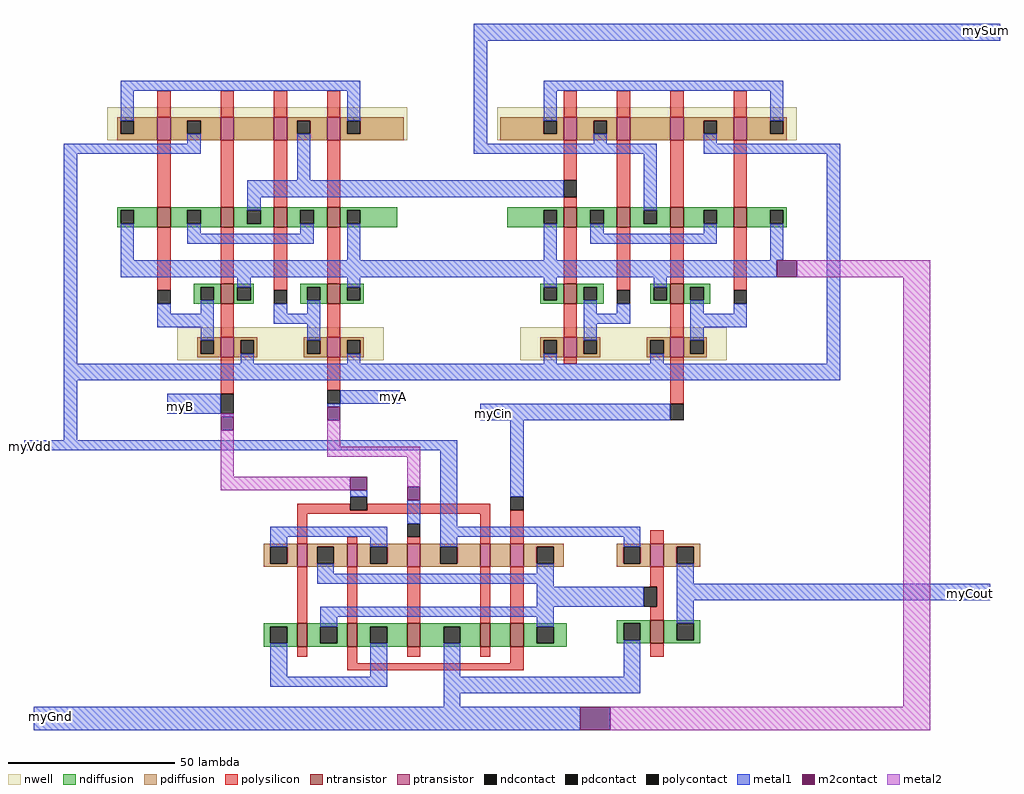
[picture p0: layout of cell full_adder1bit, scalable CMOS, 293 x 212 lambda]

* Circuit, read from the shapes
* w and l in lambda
.subckt full_adder1bit myA myB myCin myCout myGnd mySum myVdd
M1 n1 n2 myGnd VSUBS nfet w=6 l=4
M2 myGnd myB n2 VSUBS nfet w=6 l=4
M3 n3 myB n1 VSUBS nfet w=6 l=4
M4 n1 n4 n3 VSUBS nfet w=6 l=4
M5 n5 myB n6 VSUBS nfet w=7 l=3
M6 myGnd myA n4 VSUBS nfet w=6 l=4
M7 myGnd myA n1 VSUBS nfet w=6 l=4
M8 n6 myCin n5 VSUBS nfet w=7 l=3
M9 myGnd myA n6 VSUBS nfet w=7 l=4
M10 n7 myB myGnd VSUBS nfet w=7 l=3
M11 n5 myCin n7 VSUBS nfet w=7 l=4
M12 n8 n3 myGnd VSUBS nfet w=6 l=4
M13 n9 n3 myGnd VSUBS nfet w=6 l=4
M14 mySum n8 n9 VSUBS nfet w=6 l=4
M15 myCout n5 myGnd VSUBS nfet w=7 l=4
M16 n10 myCin myGnd VSUBS nfet w=6 l=4
M17 n9 myCin mySum VSUBS nfet w=6 l=4
M18 myGnd n10 n9 VSUBS nfet w=6 l=4
M19 myVdd n2 n11 n12 pfet w=7 l=4
M20 myVdd myB n2 n13 pfet w=6 l=4
M21 n14 myB myVdd n12 pfet w=7 l=4
M22 n3 n4 n14 n12 pfet w=7 l=4
M23 n5 myB n15 NWELL pfet w=7 l=3
M24 myVdd myA n4 n13 pfet w=6 l=4
M25 n11 myA n3 n12 pfet w=7 l=4
M26 n15 myCin n5 NWELL pfet w=7 l=3
M27 myVdd myA n15 NWELL pfet w=7 l=4
M28 n16 myB myVdd NWELL pfet w=7 l=3
M29 n5 myCin n16 NWELL pfet w=7 l=4
M30 n8 n3 myVdd n17 pfet w=6 l=4
M31 mySum n3 n18 n19 pfet w=7 l=4
M32 n20 n8 mySum n19 pfet w=7 l=4
M33 myCout n5 myVdd NWELL pfet w=7 l=4
M34 n10 myCin myVdd n17 pfet w=6 l=4
M35 myVdd myCin n20 n19 pfet w=7 l=4
M36 n18 n10 myVdd n19 pfet w=7 l=4
.ends

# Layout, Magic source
magic
tech scmos
<< nwell >>
rect -48 110 42 120
rect 69 110 159 120
rect -27 44 35 54
rect 76 44 138 54
<< polysilicon >>
rect -33 117 -29 125
rect -14 117 -10 125
rect 2 117 6 125
rect 18 117 22 125
rect 89 117 93 125
rect 105 117 109 125
rect 121 117 125 125
rect 140 117 144 125
rect -33 90 -29 110
rect -14 90 -10 110
rect 2 90 6 110
rect 18 90 22 110
rect 89 98 93 110
rect 89 90 93 93
rect 105 90 109 110
rect 121 90 125 110
rect 140 90 144 110
rect -33 65 -29 84
rect -14 67 -10 84
rect 2 65 6 84
rect 18 67 22 84
rect 89 67 93 84
rect 105 65 109 84
rect 121 67 125 84
rect 140 65 144 84
rect -14 51 -10 61
rect 18 51 22 61
rect 89 51 93 61
rect 121 51 125 61
rect -14 34 -10 45
rect 18 35 22 45
rect 89 43 93 45
rect 121 31 125 45
rect 9 -1 25 1
rect 30 -1 67 1
rect 9 -2 67 -1
rect 9 -11 12 -2
rect 24 -11 27 -9
rect 42 -11 46 -9
rect 64 -11 67 -2
rect 73 -11 77 -1
rect 115 -11 119 -7
rect 9 -35 12 -18
rect 24 -35 27 -18
rect 42 -35 46 -18
rect 64 -35 67 -18
rect 73 -35 77 -18
rect 115 -24 119 -18
rect 117 -30 119 -24
rect 115 -34 119 -30
rect 9 -45 12 -42
rect 24 -47 27 -42
rect 42 -45 46 -42
rect 64 -45 67 -42
rect 73 -47 77 -42
rect 115 -45 119 -41
rect 24 -49 77 -47
<< ndiffusion >>
rect -45 89 -33 90
rect -45 85 -44 89
rect -40 85 -33 89
rect -45 84 -33 85
rect -29 89 -14 90
rect -29 85 -24 89
rect -20 85 -14 89
rect -29 84 -14 85
rect -10 89 2 90
rect -10 85 -6 89
rect -2 85 2 89
rect -10 84 2 85
rect 6 89 18 90
rect 6 85 10 89
rect 14 85 18 89
rect 6 84 18 85
rect 22 89 39 90
rect 22 85 24 89
rect 28 85 39 89
rect 22 84 39 85
rect 72 89 89 90
rect 72 85 83 89
rect 87 85 89 89
rect 72 84 89 85
rect 93 89 105 90
rect 93 85 97 89
rect 101 85 105 89
rect 93 84 105 85
rect 109 89 121 90
rect 109 85 113 89
rect 117 85 121 89
rect 109 84 121 85
rect 125 89 140 90
rect 125 85 131 89
rect 135 85 140 89
rect 125 84 140 85
rect 144 89 156 90
rect 144 85 151 89
rect 155 85 156 89
rect 144 84 156 85
rect -22 66 -14 67
rect -22 62 -20 66
rect -16 62 -14 66
rect -22 61 -14 62
rect -10 66 -4 67
rect -10 62 -9 66
rect -5 62 -4 66
rect -10 61 -4 62
rect 10 66 18 67
rect 10 62 12 66
rect 16 62 18 66
rect 10 61 18 62
rect 22 66 29 67
rect 22 62 24 66
rect 28 62 29 66
rect 22 61 29 62
rect 82 66 89 67
rect 82 62 83 66
rect 87 62 89 66
rect 82 61 89 62
rect 93 66 101 67
rect 93 62 95 66
rect 99 62 101 66
rect 93 61 101 62
rect 115 66 121 67
rect 115 62 116 66
rect 120 62 121 66
rect 115 61 121 62
rect 125 66 133 67
rect 125 62 127 66
rect 131 62 133 66
rect 125 61 133 62
rect 105 -35 115 -34
rect -1 -36 9 -35
rect -1 -41 1 -36
rect 6 -41 9 -36
rect -1 -42 9 -41
rect 12 -36 24 -35
rect 12 -41 16 -36
rect 21 -41 24 -36
rect 12 -42 24 -41
rect 27 -36 42 -35
rect 27 -41 31 -36
rect 36 -41 42 -36
rect 27 -42 42 -41
rect 46 -36 64 -35
rect 46 -41 53 -36
rect 58 -41 64 -36
rect 46 -42 64 -41
rect 67 -42 73 -35
rect 77 -36 90 -35
rect 77 -41 81 -36
rect 86 -41 90 -36
rect 105 -40 107 -35
rect 112 -40 115 -35
rect 105 -41 115 -40
rect 119 -35 130 -34
rect 119 -40 123 -35
rect 128 -40 130 -35
rect 119 -41 130 -40
rect 77 -42 90 -41
<< pdiffusion >>
rect -45 116 -33 117
rect -45 112 -44 116
rect -40 112 -33 116
rect -45 110 -33 112
rect -29 116 -14 117
rect -29 112 -24 116
rect -20 112 -14 116
rect -29 110 -14 112
rect -10 110 2 117
rect 6 116 18 117
rect 6 112 9 116
rect 13 112 18 116
rect 6 110 18 112
rect 22 116 41 117
rect 22 112 24 116
rect 28 112 41 116
rect 22 110 41 112
rect 70 116 89 117
rect 70 112 83 116
rect 87 112 89 116
rect 70 110 89 112
rect 93 116 105 117
rect 93 112 98 116
rect 102 112 105 116
rect 93 110 105 112
rect 109 110 121 117
rect 125 116 140 117
rect 125 112 131 116
rect 135 112 140 116
rect 125 110 140 112
rect 144 116 156 117
rect 144 112 151 116
rect 155 112 156 116
rect 144 110 156 112
rect -21 50 -14 51
rect -21 46 -20 50
rect -16 46 -14 50
rect -21 45 -14 46
rect -10 50 -3 51
rect -10 46 -8 50
rect -4 46 -3 50
rect -10 45 -3 46
rect 11 50 18 51
rect 11 46 12 50
rect 16 46 18 50
rect 11 45 18 46
rect 22 50 29 51
rect 22 46 24 50
rect 28 46 29 50
rect 22 45 29 46
rect 82 50 89 51
rect 82 46 83 50
rect 87 46 89 50
rect 82 45 89 46
rect 93 50 100 51
rect 93 46 95 50
rect 99 46 100 50
rect 93 45 100 46
rect 114 50 121 51
rect 114 46 115 50
rect 119 46 121 50
rect 114 45 121 46
rect 125 50 132 51
rect 125 46 127 50
rect 131 46 132 50
rect 125 45 132 46
rect -1 -12 9 -11
rect -1 -17 1 -12
rect 6 -17 9 -12
rect -1 -18 9 -17
rect 12 -12 24 -11
rect 12 -17 15 -12
rect 20 -17 24 -12
rect 12 -18 24 -17
rect 27 -12 42 -11
rect 27 -17 31 -12
rect 36 -17 42 -12
rect 27 -18 42 -17
rect 46 -12 64 -11
rect 46 -17 52 -12
rect 57 -17 64 -12
rect 46 -18 64 -17
rect 67 -18 73 -11
rect 77 -12 89 -11
rect 77 -17 81 -12
rect 86 -17 89 -12
rect 77 -18 89 -17
rect 105 -12 115 -11
rect 105 -17 107 -12
rect 112 -17 115 -12
rect 105 -18 115 -17
rect 119 -12 130 -11
rect 119 -17 123 -12
rect 128 -17 130 -12
rect 119 -18 130 -17
<< metal1 >>
rect 62 140 220 145
rect -44 125 28 128
rect -44 116 -40 125
rect 24 116 28 125
rect -24 109 -20 112
rect -61 106 -20 109
rect -61 43 -57 106
rect 9 98 13 112
rect 62 109 66 140
rect 83 125 155 128
rect 83 116 87 125
rect 151 116 155 125
rect 98 109 102 112
rect 131 109 135 112
rect 62 106 117 109
rect 131 106 172 109
rect -6 93 89 98
rect -6 89 -2 93
rect 113 89 117 106
rect -44 74 -40 85
rect -24 82 -20 85
rect 10 82 14 85
rect -24 79 14 82
rect 24 74 28 85
rect 83 74 87 85
rect 97 82 101 85
rect 131 82 135 85
rect 97 79 135 82
rect 151 74 155 85
rect -44 69 153 74
rect -9 66 -5 69
rect 24 66 28 69
rect -33 58 -29 61
rect -20 58 -16 62
rect -33 54 -16 58
rect 2 58 6 61
rect 83 66 87 69
rect 116 66 120 69
rect 12 58 16 62
rect 2 55 16 58
rect -20 50 -16 54
rect 12 50 16 55
rect 95 58 99 62
rect 105 58 109 61
rect 95 55 109 58
rect 127 58 131 62
rect 140 58 144 61
rect 95 50 99 55
rect 127 54 144 58
rect 127 50 131 54
rect -8 43 -4 46
rect 24 43 28 46
rect 83 43 87 46
rect 115 43 119 46
rect 168 43 172 106
rect -61 38 172 43
rect -61 20 -57 38
rect -30 28 -14 34
rect -14 27 -10 28
rect 22 31 40 35
rect 18 30 22 31
rect 64 26 121 31
rect -73 17 57 20
rect 25 3 30 5
rect 42 -5 46 2
rect 1 -9 36 -6
rect 52 -6 57 17
rect 73 3 77 26
rect 52 -9 112 -6
rect 1 -12 6 -9
rect 31 -12 36 -9
rect 52 -12 57 -9
rect 107 -12 112 -9
rect 15 -20 20 -17
rect 81 -20 86 -17
rect 15 -23 86 -20
rect 81 -24 86 -23
rect 123 -23 128 -17
rect 81 -30 113 -24
rect 123 -28 217 -23
rect 16 -33 86 -30
rect 16 -36 21 -33
rect 81 -36 86 -33
rect 123 -35 128 -28
rect 1 -51 6 -41
rect 31 -51 36 -41
rect 1 -54 36 -51
rect 53 -51 58 -41
rect 107 -51 112 -40
rect 53 -56 112 -51
rect 53 -60 58 -56
rect -70 -67 94 -60
<< metal2 >>
rect 159 69 199 74
rect -14 27 -10 28
rect -14 9 -10 23
rect 18 18 22 26
rect 18 15 46 18
rect -14 5 25 9
rect 42 6 46 15
rect 191 -60 199 69
rect 103 -67 199 -60
<< ntransistor >>
rect -33 84 -29 90
rect -14 84 -10 90
rect 2 84 6 90
rect 18 84 22 90
rect 89 84 93 90
rect 105 84 109 90
rect 121 84 125 90
rect 140 84 144 90
rect -14 61 -10 67
rect 18 61 22 67
rect 89 61 93 67
rect 121 61 125 67
rect 9 -42 12 -35
rect 24 -42 27 -35
rect 42 -42 46 -35
rect 64 -42 67 -35
rect 73 -42 77 -35
rect 115 -41 119 -34
<< ptransistor >>
rect -33 110 -29 117
rect -14 110 -10 117
rect 2 110 6 117
rect 18 110 22 117
rect 89 110 93 117
rect 105 110 109 117
rect 121 110 125 117
rect 140 110 144 117
rect -14 45 -10 51
rect 18 45 22 51
rect 89 45 93 51
rect 121 45 125 51
rect 9 -18 12 -11
rect 24 -18 27 -11
rect 42 -18 46 -11
rect 64 -18 67 -11
rect 73 -18 77 -11
rect 115 -18 119 -11
<< polycontact >>
rect 89 93 93 98
rect -33 61 -29 65
rect 2 61 6 65
rect 105 61 109 65
rect 140 61 144 65
rect -14 28 -10 34
rect 18 31 22 35
rect 121 26 125 31
rect 25 -1 30 3
rect 42 -9 46 -5
rect 73 -1 77 3
rect 113 -30 117 -24
<< ndcontact >>
rect -44 85 -40 89
rect -24 85 -20 89
rect -6 85 -2 89
rect 10 85 14 89
rect 24 85 28 89
rect 83 85 87 89
rect 97 85 101 89
rect 113 85 117 89
rect 131 85 135 89
rect 151 85 155 89
rect -20 62 -16 66
rect -9 62 -5 66
rect 12 62 16 66
rect 24 62 28 66
rect 83 62 87 66
rect 95 62 99 66
rect 116 62 120 66
rect 127 62 131 66
rect 1 -41 6 -36
rect 16 -41 21 -36
rect 31 -41 36 -36
rect 53 -41 58 -36
rect 81 -41 86 -36
rect 107 -40 112 -35
rect 123 -40 128 -35
<< pdcontact >>
rect -44 112 -40 116
rect -24 112 -20 116
rect 9 112 13 116
rect 24 112 28 116
rect 83 112 87 116
rect 98 112 102 116
rect 131 112 135 116
rect 151 112 155 116
rect -20 46 -16 50
rect -8 46 -4 50
rect 12 46 16 50
rect 24 46 28 50
rect 83 46 87 50
rect 95 46 99 50
rect 115 46 119 50
rect 127 46 131 50
rect 1 -17 6 -12
rect 15 -17 20 -12
rect 31 -17 36 -12
rect 52 -17 57 -12
rect 81 -17 86 -12
rect 107 -17 112 -12
rect 123 -17 128 -12
<< m2contact >>
rect 153 69 159 74
rect -14 23 -10 27
rect 18 26 22 30
rect 25 5 30 9
rect 42 2 46 6
rect 94 -67 103 -60
<< labels >>
rlabel metal1 -71 18 -71 18 3 myVdd
rlabel metal1 38 33 38 33 1 myA
rlabel metal1 -26 30 -26 30 1 myB
rlabel metal1 -65 -63 -65 -63 1 myGnd
rlabel metal1 68 28 68 28 1 myCin
rlabel metal1 211 -26 211 -26 1 myCout
rlabel metal1 216 143 216 143 6 mySum
<< end >>
